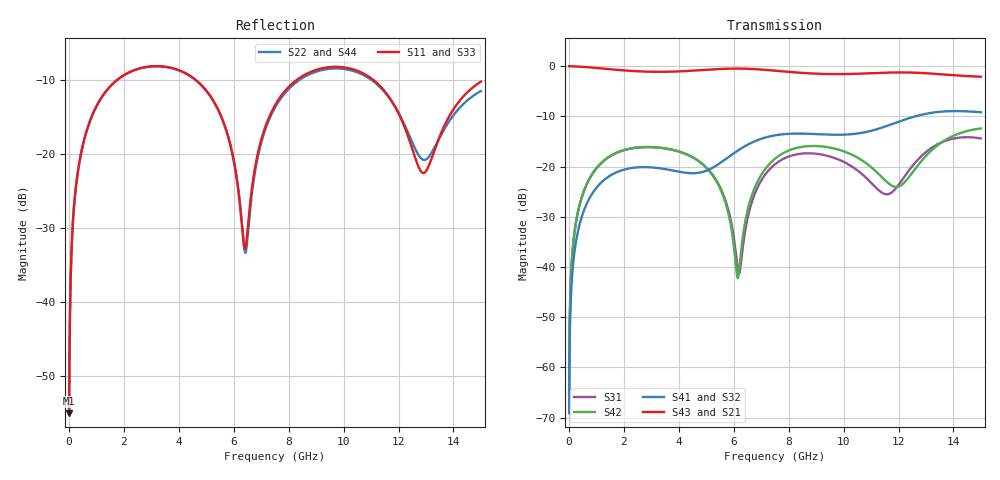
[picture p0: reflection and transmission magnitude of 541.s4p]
! Created with skrf 1.8.0 (http://scikit-rf.org).
# GHz S RI R 50.0
!freq ReS11 ImS11 ReS12 ImS12 ReS13 ImS13
! ReS14 ImS14
! ReS21 ImS21 ReS22 ImS22 ReS23 ImS23
! ReS24 ImS24
! ReS31 ImS31 ReS32 ImS32 ReS33 ImS33
! ReS34 ImS34
! ReS41 ImS41 ReS42 ImS42 ReS43 ImS43
! ReS44 ImS44
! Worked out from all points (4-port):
!   2499 points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, 5 MHz to 15 GHz, reference 50 ohm
!   strongest paths, dB at 5 MHz, 3.476 GHz, 7.19 GHz, 11.1 GHz, 15 GHz:
!     S43: 0.0, -1.1, -0.8, -1.4, -2.1
!     S21: 0.0, -1.1, -0.8, -1.4, -2.1
!     S41: -69.1, -20.5, -14.2, -12.7, -9.2
!     S32: -69.1, -20.5, -14.2, -12.8, -9.2
!     S42: -65.2, -16.4, -20.2, -20.6, -12.4
!     S31: -65.2, -16.4, -21.3, -23.8, -14.4
!   lowest |S11| = -55.1 dB at 5 MHz (marker M1), VSWR 1.00, Z = 50.1 + j0.107 ohm
!   |S11| at or under -10 dB: start of sweep to 1.739 GHz; 4.626 GHz to 8.277 GHz (3.652 GHz wide, 56.6 % of centre); 11.1 GHz to end of sweep
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0.005  0.0014 0.00107  0.9986 -0.00273  6.93e-05 0.000545  -6.74e-05 -0.000343
       0.9986 -0.00273  0.0014 0.00107  -6.74e-05 -0.000343  6.93e-05 0.000545
       6.93e-05 0.000545  -6.74e-05 -0.000343  0.0014 0.00107  0.9986 -0.00273
       -6.74e-05 -0.000343  6.93e-05 0.000545  0.9986 -0.00273  0.0014 0.00107
0.3626511  0.023 0.0811  0.9684 -0.1965  0.0105 0.0376  -0.00879 -0.0234
           0.9684 -0.1965  0.023 0.0812  -0.00879 -0.0234  0.0106 0.0376
           0.0105 0.0376  -0.00879 -0.0234  0.023 0.0812  0.9684 -0.1965
           -0.00879 -0.0234  0.0106 0.0376  0.9684 -0.1965  0.023 0.0812
1.619545  0.2356 0.1896  0.6215 -0.6844  0.1128 0.0695  -0.083 -0.0175
          0.6215 -0.6844  0.2353 0.1899  -0.0829 -0.0176  0.1135 0.0687
          0.1128 0.0695  -0.0829 -0.0176  0.2355 0.1896  0.6216 -0.6844
          -0.083 -0.0175  0.1135 0.0687  0.6216 -0.6844  0.2352 0.1899
4.995832  0.194 -0.1867  -0.6419 -0.6571  0.053 -0.0827  -0.04 0.0814
          -0.6419 -0.6571  0.1947 -0.1867  -0.0402 0.0812  0.0574 -0.079
          0.053 -0.0827  -0.0402 0.0812  0.1931 -0.1862  -0.6422 -0.6573
          -0.04 0.0814  0.0574 -0.079  -0.6422 -0.6573  0.1941 -0.1858
6.446436  0.0231 0.00748  -0.9406 -0.0483  -0.0026 0.0254  -0.0031 0.1617
          -0.9406 -0.0483  0.0216 0.00416  -0.00368 0.1617  0.0173 0.0258
          -0.0026 0.0254  -0.00368 0.1617  0.0226 0.0092  -0.9406 -0.0479
          -0.0031 0.1617  0.0173 0.0258  -0.9406 -0.0479  0.0219 0.00589
10.37932  0.3609 -0.0957  0.1725 0.8201  0.0569 -0.0785  0.196 -0.0785
          0.1725 0.8201  0.3558 -0.078  0.1962 -0.0771  0.0545 -0.116
          0.0569 -0.0785  0.1962 -0.0771  0.3634 -0.0968  0.1708 0.8194
          0.196 -0.0785  0.0545 -0.116  0.1708 0.8194  0.3586 -0.0767
15  0.2895 0.1088  0.5101 -0.5921  0.1789 0.0652  -0.3044 -0.1673
    0.5101 -0.5921  0.2522 0.0889  -0.3035 -0.17  0.2388 -0.0175
    0.1789 0.0652  -0.3035 -0.17  0.2821 0.1085  0.515 -0.5909
    -0.3044 -0.1673  0.2388 -0.0175  0.515 -0.5909  0.2476 0.0839
